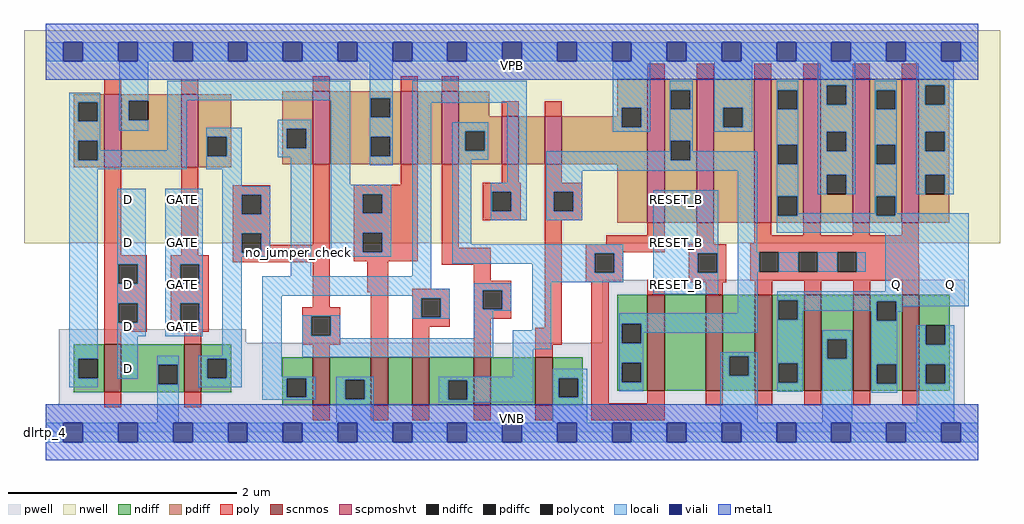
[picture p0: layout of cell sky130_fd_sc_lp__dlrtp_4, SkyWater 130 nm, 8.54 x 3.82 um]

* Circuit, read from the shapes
.subckt sky130_fd_sc_lp__dlrtp_4 D GATE RESET_B VGND VNB VPB VPWR Q
XM1 VGND D n1 VNB sky130_fd_pr__nfet_01v8 w=0.42 l=0.15
XM2 n2 GATE VGND VNB sky130_fd_pr__nfet_01v8 w=0.42 l=0.15
XM3 VGND n2 n3 VNB sky130_fd_pr__nfet_01v8 w=0.42 l=0.15
XM4 n4 n1 VGND VNB sky130_fd_pr__nfet_01v8 w=0.42 l=0.15
XM5 n5 n3 n4 VNB sky130_fd_pr__nfet_01v8 w=0.42 l=0.15
XM6 n6 n2 n5 VNB sky130_fd_pr__nfet_01v8 w=0.42 l=0.15
XM7 VGND n7 n6 VNB sky130_fd_pr__nfet_01v8 w=0.42 l=0.15
XM8 n8 n5 n7 VNB sky130_fd_pr__nfet_01v8 w=0.84 l=0.15
XM9 VGND RESET_B n8 VNB sky130_fd_pr__nfet_01v8 w=0.84 l=0.15
XM10 Q n7 VGND VNB sky130_fd_pr__nfet_01v8 w=0.84 l=0.15 m=4
XM11 VPWR D n1 VPB sky130_fd_pr__pfet_01v8_hvt w=0.64 l=0.15
XM12 n2 GATE VPWR VPB sky130_fd_pr__pfet_01v8_hvt w=0.64 l=0.15
XM13 VPWR n2 n3 VPB sky130_fd_pr__pfet_01v8_hvt w=0.64 l=0.15
XM14 n9 n1 VPWR VPB sky130_fd_pr__pfet_01v8_hvt w=0.64 l=0.15
XM15 n5 n2 n9 VPB sky130_fd_pr__pfet_01v8_hvt w=0.64 l=0.15
XM16 n10 n3 n5 VPB sky130_fd_pr__pfet_01v8_hvt w=0.42 l=0.15
XM17 VPWR n7 n10 VPB sky130_fd_pr__pfet_01v8_hvt w=0.42 l=0.15
XM18 n7 n5 VPWR VPB sky130_fd_pr__pfet_01v8_hvt w=1.26 l=0.15
XM19 VPWR RESET_B n7 VPB sky130_fd_pr__pfet_01v8_hvt w=1.26 l=0.15
XM20 Q n7 VPWR VPB sky130_fd_pr__pfet_01v8_hvt w=1.26 l=0.15 m=4
.ends

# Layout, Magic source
magic
tech sky130A
magscale 1 2
<< nwell >>
rect -38 331 1670 704
<< pwell >>
rect 23 157 351 180
rect 974 157 1608 267
rect 23 49 1608 157
rect 0 0 1632 49
<< scnmos >>
rect 102 70 132 154
rect 242 70 272 154
rect 467 47 497 131
rect 569 47 599 131
rect 641 47 671 131
rect 749 47 779 131
rect 857 47 887 131
rect 1053 73 1083 241
rect 1155 73 1185 241
rect 1241 73 1271 241
rect 1327 73 1357 241
rect 1413 73 1443 241
rect 1499 73 1529 241
<< scpmoshvt >>
rect 102 464 132 592
rect 237 464 267 592
rect 467 469 497 597
rect 621 469 651 597
rect 693 469 723 597
rect 798 469 828 553
rect 873 469 903 553
rect 1053 367 1083 619
rect 1139 367 1169 619
rect 1240 367 1270 619
rect 1326 367 1356 619
rect 1412 367 1442 619
rect 1498 367 1528 619
<< ndiff >>
rect 49 129 102 154
rect 49 95 57 129
rect 91 95 102 129
rect 49 70 102 95
rect 132 118 242 154
rect 132 84 197 118
rect 231 84 242 118
rect 132 70 242 84
rect 272 129 325 154
rect 272 95 283 129
rect 317 95 325 129
rect 272 70 325 95
rect 414 95 467 131
rect 414 61 422 95
rect 456 61 467 95
rect 414 47 467 61
rect 497 92 569 131
rect 497 58 524 92
rect 558 58 569 92
rect 497 47 569 58
rect 599 47 641 131
rect 671 91 749 131
rect 671 57 704 91
rect 738 57 749 91
rect 671 47 749 57
rect 779 47 857 131
rect 887 95 940 131
rect 887 61 898 95
rect 932 61 940 95
rect 887 47 940 61
rect 1000 190 1053 241
rect 1000 156 1008 190
rect 1042 156 1053 190
rect 1000 122 1053 156
rect 1000 88 1008 122
rect 1042 88 1053 122
rect 1000 73 1053 88
rect 1083 73 1155 241
rect 1185 133 1241 241
rect 1185 99 1196 133
rect 1230 99 1241 133
rect 1185 73 1241 99
rect 1271 231 1327 241
rect 1271 197 1282 231
rect 1316 197 1327 231
rect 1271 121 1327 197
rect 1271 87 1282 121
rect 1316 87 1327 121
rect 1271 73 1327 87
rect 1357 163 1413 241
rect 1357 129 1368 163
rect 1402 129 1413 163
rect 1357 73 1413 129
rect 1443 229 1499 241
rect 1443 195 1454 229
rect 1488 195 1499 229
rect 1443 119 1499 195
rect 1443 85 1454 119
rect 1488 85 1499 119
rect 1443 73 1499 85
rect 1529 187 1582 241
rect 1529 153 1540 187
rect 1574 153 1582 187
rect 1529 119 1582 153
rect 1529 85 1540 119
rect 1574 85 1582 119
rect 1529 73 1582 85
<< pdiff >>
rect 49 578 102 592
rect 49 544 57 578
rect 91 544 102 578
rect 49 510 102 544
rect 49 476 57 510
rect 91 476 102 510
rect 49 464 102 476
rect 132 580 237 592
rect 132 546 145 580
rect 179 546 237 580
rect 132 464 237 546
rect 267 517 325 592
rect 267 483 283 517
rect 317 483 325 517
rect 267 464 325 483
rect 414 531 467 597
rect 414 497 422 531
rect 456 497 467 531
rect 414 469 467 497
rect 497 585 621 597
rect 497 551 569 585
rect 603 551 621 585
rect 497 517 621 551
rect 497 483 569 517
rect 603 483 621 517
rect 497 469 621 483
rect 651 469 693 597
rect 723 553 776 597
rect 1000 568 1053 619
rect 1000 553 1008 568
rect 723 527 798 553
rect 723 493 734 527
rect 768 493 798 527
rect 723 469 798 493
rect 828 469 873 553
rect 903 534 1008 553
rect 1042 534 1053 568
rect 903 469 1053 534
rect 1000 367 1053 469
rect 1083 599 1139 619
rect 1083 565 1094 599
rect 1128 565 1139 599
rect 1083 510 1139 565
rect 1083 476 1094 510
rect 1128 476 1139 510
rect 1083 367 1139 476
rect 1169 568 1240 619
rect 1169 534 1186 568
rect 1220 534 1240 568
rect 1169 367 1240 534
rect 1270 599 1326 619
rect 1270 565 1281 599
rect 1315 565 1326 599
rect 1270 503 1326 565
rect 1270 469 1281 503
rect 1315 469 1326 503
rect 1270 413 1326 469
rect 1270 379 1281 413
rect 1315 379 1326 413
rect 1270 367 1326 379
rect 1356 607 1412 619
rect 1356 573 1367 607
rect 1401 573 1412 607
rect 1356 526 1412 573
rect 1356 492 1367 526
rect 1401 492 1412 526
rect 1356 451 1412 492
rect 1356 417 1367 451
rect 1401 417 1412 451
rect 1356 367 1412 417
rect 1442 599 1498 619
rect 1442 565 1453 599
rect 1487 565 1498 599
rect 1442 503 1498 565
rect 1442 469 1453 503
rect 1487 469 1498 503
rect 1442 413 1498 469
rect 1442 379 1453 413
rect 1487 379 1498 413
rect 1442 367 1498 379
rect 1528 607 1581 619
rect 1528 573 1539 607
rect 1573 573 1581 607
rect 1528 526 1581 573
rect 1528 492 1539 526
rect 1573 492 1581 526
rect 1528 451 1581 492
rect 1528 417 1539 451
rect 1573 417 1581 451
rect 1528 367 1581 417
<< ndiffc >>
rect 57 95 91 129
rect 197 84 231 118
rect 283 95 317 129
rect 422 61 456 95
rect 524 58 558 92
rect 704 57 738 91
rect 898 61 932 95
rect 1008 156 1042 190
rect 1008 88 1042 122
rect 1196 99 1230 133
rect 1282 197 1316 231
rect 1282 87 1316 121
rect 1368 129 1402 163
rect 1454 195 1488 229
rect 1454 85 1488 119
rect 1540 153 1574 187
rect 1540 85 1574 119
<< pdiffc >>
rect 57 544 91 578
rect 57 476 91 510
rect 145 546 179 580
rect 283 483 317 517
rect 422 497 456 531
rect 569 551 603 585
rect 569 483 603 517
rect 734 493 768 527
rect 1008 534 1042 568
rect 1094 565 1128 599
rect 1094 476 1128 510
rect 1186 534 1220 568
rect 1281 565 1315 599
rect 1281 469 1315 503
rect 1281 379 1315 413
rect 1367 573 1401 607
rect 1367 492 1401 526
rect 1367 417 1401 451
rect 1453 565 1487 599
rect 1453 469 1487 503
rect 1453 379 1487 413
rect 1539 573 1573 607
rect 1539 492 1573 526
rect 1539 417 1573 451
<< poly >>
rect 102 592 132 618
rect 237 592 267 618
rect 467 597 497 623
rect 621 597 651 623
rect 693 597 723 623
rect 1053 619 1083 645
rect 1139 619 1169 645
rect 1240 619 1270 645
rect 1326 619 1356 645
rect 1412 619 1442 645
rect 1498 619 1528 645
rect 798 553 828 579
rect 873 553 903 579
rect 102 310 132 464
rect 237 310 267 464
rect 327 416 393 432
rect 327 382 343 416
rect 377 382 393 416
rect 327 348 393 382
rect 327 314 343 348
rect 377 328 393 348
rect 467 328 497 469
rect 621 433 651 469
rect 377 314 497 328
rect 102 294 177 310
rect 102 260 127 294
rect 161 260 177 294
rect 102 226 177 260
rect 102 192 127 226
rect 161 192 177 226
rect 102 176 177 192
rect 219 294 285 310
rect 327 298 497 314
rect 539 417 651 433
rect 539 383 555 417
rect 589 383 651 417
rect 539 349 651 383
rect 539 315 555 349
rect 589 315 651 349
rect 539 299 651 315
rect 693 323 723 469
rect 798 437 828 469
rect 873 437 903 469
rect 765 421 831 437
rect 765 387 781 421
rect 815 387 831 421
rect 765 371 831 387
rect 873 421 939 437
rect 873 387 889 421
rect 923 387 939 421
rect 873 371 939 387
rect 219 260 235 294
rect 269 260 285 294
rect 219 226 285 260
rect 219 192 235 226
rect 269 192 285 226
rect 467 219 497 298
rect 563 245 599 299
rect 693 293 779 323
rect 749 265 779 293
rect 219 176 285 192
rect 449 203 515 219
rect 102 154 132 176
rect 242 154 272 176
rect 449 169 465 203
rect 499 169 515 203
rect 449 153 515 169
rect 467 131 497 153
rect 569 131 599 245
rect 641 235 707 251
rect 641 201 657 235
rect 691 201 707 235
rect 641 185 707 201
rect 749 249 815 265
rect 749 215 765 249
rect 799 215 815 249
rect 749 199 815 215
rect 641 131 671 185
rect 749 131 779 199
rect 873 183 903 371
rect 1053 345 1083 367
rect 981 329 1083 345
rect 1139 329 1169 367
rect 1240 345 1270 367
rect 1326 345 1356 367
rect 1412 345 1442 367
rect 1498 345 1528 367
rect 1240 331 1528 345
rect 945 315 1083 329
rect 945 313 1011 315
rect 945 279 961 313
rect 995 279 1011 313
rect 945 263 1011 279
rect 1125 313 1191 329
rect 1125 279 1141 313
rect 1175 279 1191 313
rect 857 153 903 183
rect 857 131 887 153
rect 102 44 132 70
rect 242 44 272 70
rect 955 51 985 263
rect 1053 241 1083 267
rect 1125 263 1191 279
rect 1233 315 1528 331
rect 1233 281 1249 315
rect 1283 281 1317 315
rect 1351 281 1385 315
rect 1419 295 1528 315
rect 1419 281 1529 295
rect 1233 265 1529 281
rect 1155 241 1185 263
rect 1241 241 1271 265
rect 1327 241 1357 265
rect 1413 241 1443 265
rect 1499 241 1529 265
rect 1053 51 1083 73
rect 467 21 497 47
rect 569 21 599 47
rect 641 21 671 47
rect 749 21 779 47
rect 857 21 887 47
rect 955 21 1083 51
rect 1155 47 1185 73
rect 1241 47 1271 73
rect 1327 47 1357 73
rect 1413 47 1443 73
rect 1499 47 1529 73
<< polycont >>
rect 343 382 377 416
rect 343 314 377 348
rect 127 260 161 294
rect 127 192 161 226
rect 555 383 589 417
rect 555 315 589 349
rect 781 387 815 421
rect 889 387 923 421
rect 235 260 269 294
rect 235 192 269 226
rect 465 169 499 203
rect 657 201 691 235
rect 765 215 799 249
rect 961 279 995 313
rect 1141 279 1175 313
rect 1249 281 1283 315
rect 1317 281 1351 315
rect 1385 281 1419 315
<< locali >>
rect 0 649 31 683
rect 65 649 127 683
rect 161 649 223 683
rect 257 649 319 683
rect 353 649 415 683
rect 449 649 511 683
rect 545 649 607 683
rect 641 649 703 683
rect 737 649 799 683
rect 833 649 895 683
rect 929 649 991 683
rect 1025 649 1087 683
rect 1121 649 1183 683
rect 1217 649 1279 683
rect 1313 649 1375 683
rect 1409 649 1471 683
rect 1505 649 1567 683
rect 1601 649 1632 683
rect 41 578 95 594
rect 41 544 57 578
rect 91 544 95 578
rect 41 510 95 544
rect 129 580 179 649
rect 129 546 145 580
rect 129 528 179 546
rect 213 581 533 615
rect 41 476 57 510
rect 91 494 95 510
rect 213 494 247 581
rect 91 476 247 494
rect 41 460 247 476
rect 281 517 343 533
rect 281 483 283 517
rect 317 483 343 517
rect 281 460 343 483
rect 406 531 465 547
rect 406 497 422 531
rect 456 497 465 531
rect 406 481 465 497
rect 41 129 91 460
rect 309 431 343 460
rect 41 95 57 129
rect 41 79 91 95
rect 125 294 175 426
rect 125 260 127 294
rect 161 260 175 294
rect 125 226 175 260
rect 125 192 127 226
rect 161 192 175 226
rect 125 168 175 192
rect 209 294 275 426
rect 209 260 235 294
rect 269 260 275 294
rect 209 226 275 260
rect 209 192 235 226
rect 269 192 275 226
rect 209 168 275 192
rect 309 416 393 431
rect 309 382 343 416
rect 377 382 393 416
rect 309 348 393 382
rect 309 314 343 348
rect 377 314 393 348
rect 309 307 393 314
rect 125 94 161 168
rect 309 134 343 307
rect 429 273 465 481
rect 499 433 533 581
rect 567 585 607 649
rect 567 551 569 585
rect 603 551 607 585
rect 567 517 607 551
rect 567 483 569 517
rect 603 483 607 517
rect 567 467 607 483
rect 641 577 842 615
rect 499 417 605 433
rect 499 383 555 417
rect 589 383 605 417
rect 499 349 605 383
rect 499 315 555 349
rect 589 315 605 349
rect 499 307 605 315
rect 641 273 675 577
rect 711 527 774 543
rect 711 493 734 527
rect 768 493 774 527
rect 711 477 774 493
rect 711 329 745 477
rect 808 437 842 577
rect 992 568 1058 649
rect 992 534 1008 568
rect 1042 534 1058 568
rect 992 526 1058 534
rect 1092 599 1132 615
rect 1092 565 1094 599
rect 1128 565 1132 599
rect 1092 510 1132 565
rect 1170 568 1236 649
rect 1170 534 1186 568
rect 1220 534 1236 568
rect 1170 526 1236 534
rect 1279 599 1317 615
rect 1279 565 1281 599
rect 1315 565 1317 599
rect 1092 492 1094 510
rect 779 421 842 437
rect 779 387 781 421
rect 815 387 842 421
rect 779 371 842 387
rect 876 476 1094 492
rect 1128 492 1132 510
rect 1279 503 1317 565
rect 1128 476 1245 492
rect 876 458 1245 476
rect 876 421 939 458
rect 876 387 889 421
rect 923 387 939 421
rect 876 371 939 387
rect 711 313 1011 329
rect 711 295 961 313
rect 195 118 233 134
rect 195 84 197 118
rect 231 84 233 118
rect 195 17 233 84
rect 267 129 343 134
rect 267 95 283 129
rect 317 95 343 129
rect 267 79 343 95
rect 379 251 675 273
rect 851 279 961 295
rect 995 279 1011 313
rect 851 263 1011 279
rect 1063 313 1177 424
rect 1063 279 1141 313
rect 1175 279 1177 313
rect 379 239 707 251
rect 379 97 413 239
rect 641 235 707 239
rect 449 203 515 205
rect 449 169 465 203
rect 499 169 515 203
rect 641 201 657 235
rect 691 201 707 235
rect 641 199 707 201
rect 749 249 815 261
rect 749 215 765 249
rect 799 215 815 249
rect 749 213 815 215
rect 449 165 515 169
rect 749 165 783 213
rect 851 179 885 263
rect 1063 242 1177 279
rect 1211 315 1245 458
rect 1279 469 1281 503
rect 1315 469 1317 503
rect 1279 413 1317 469
rect 1351 607 1417 649
rect 1351 573 1367 607
rect 1401 573 1417 607
rect 1351 526 1417 573
rect 1351 492 1367 526
rect 1401 492 1417 526
rect 1351 451 1417 492
rect 1351 417 1367 451
rect 1401 417 1417 451
rect 1451 599 1489 615
rect 1451 565 1453 599
rect 1487 565 1489 599
rect 1451 503 1489 565
rect 1451 469 1453 503
rect 1487 469 1489 503
rect 1279 379 1281 413
rect 1315 383 1317 413
rect 1451 413 1489 469
rect 1523 607 1589 649
rect 1523 573 1539 607
rect 1573 573 1589 607
rect 1523 526 1589 573
rect 1523 492 1539 526
rect 1573 492 1589 526
rect 1523 451 1589 492
rect 1523 417 1539 451
rect 1573 417 1589 451
rect 1451 383 1453 413
rect 1315 379 1453 383
rect 1487 383 1489 413
rect 1487 379 1615 383
rect 1279 349 1615 379
rect 1211 281 1249 315
rect 1283 281 1317 315
rect 1351 281 1385 315
rect 1419 281 1435 315
rect 1211 208 1246 281
rect 1469 247 1615 349
rect 449 131 783 165
rect 817 145 885 179
rect 1004 190 1246 208
rect 1004 156 1008 190
rect 1042 174 1246 190
rect 1280 231 1615 247
rect 1280 197 1282 231
rect 1316 229 1615 231
rect 1316 213 1454 229
rect 1316 197 1325 213
rect 1042 156 1046 174
rect 817 97 853 145
rect 1004 122 1046 156
rect 379 95 472 97
rect 379 61 422 95
rect 456 61 472 95
rect 379 57 472 61
rect 508 92 574 97
rect 508 58 524 92
rect 558 58 574 92
rect 508 17 574 58
rect 688 91 853 97
rect 688 57 704 91
rect 738 57 853 91
rect 688 53 853 57
rect 887 95 948 111
rect 887 61 898 95
rect 932 61 948 95
rect 1004 88 1008 122
rect 1042 88 1046 122
rect 1004 72 1046 88
rect 1180 133 1246 140
rect 1180 99 1196 133
rect 1230 99 1246 133
rect 887 17 948 61
rect 1180 17 1246 99
rect 1280 121 1325 197
rect 1445 195 1454 213
rect 1488 221 1615 229
rect 1488 211 1499 221
rect 1488 195 1490 211
rect 1280 87 1282 121
rect 1316 87 1325 121
rect 1280 71 1325 87
rect 1359 163 1411 179
rect 1359 129 1368 163
rect 1402 129 1411 163
rect 1359 17 1411 129
rect 1445 119 1490 195
rect 1445 85 1454 119
rect 1488 85 1490 119
rect 1445 69 1490 85
rect 1524 153 1540 187
rect 1574 153 1590 187
rect 1524 119 1590 153
rect 1524 85 1540 119
rect 1574 85 1590 119
rect 1524 17 1590 85
rect 0 -17 31 17
rect 65 -17 127 17
rect 161 -17 223 17
rect 257 -17 319 17
rect 353 -17 415 17
rect 449 -17 511 17
rect 545 -17 607 17
rect 641 -17 703 17
rect 737 -17 799 17
rect 833 -17 895 17
rect 929 -17 991 17
rect 1025 -17 1087 17
rect 1121 -17 1183 17
rect 1217 -17 1279 17
rect 1313 -17 1375 17
rect 1409 -17 1471 17
rect 1505 -17 1567 17
rect 1601 -17 1632 17
<< viali >>
rect 31 649 65 683
rect 127 649 161 683
rect 223 649 257 683
rect 319 649 353 683
rect 415 649 449 683
rect 511 649 545 683
rect 607 649 641 683
rect 703 649 737 683
rect 799 649 833 683
rect 895 649 929 683
rect 991 649 1025 683
rect 1087 649 1121 683
rect 1183 649 1217 683
rect 1279 649 1313 683
rect 1375 649 1409 683
rect 1471 649 1505 683
rect 1567 649 1601 683
rect 31 -17 65 17
rect 127 -17 161 17
rect 223 -17 257 17
rect 319 -17 353 17
rect 415 -17 449 17
rect 511 -17 545 17
rect 607 -17 641 17
rect 703 -17 737 17
rect 799 -17 833 17
rect 895 -17 929 17
rect 991 -17 1025 17
rect 1087 -17 1121 17
rect 1183 -17 1217 17
rect 1279 -17 1313 17
rect 1375 -17 1409 17
rect 1471 -17 1505 17
rect 1567 -17 1601 17
<< metal1 >>
rect 0 683 1632 715
rect 0 649 31 683
rect 65 649 127 683
rect 161 649 223 683
rect 257 649 319 683
rect 353 649 415 683
rect 449 649 511 683
rect 545 649 607 683
rect 641 649 703 683
rect 737 649 799 683
rect 833 649 895 683
rect 929 649 991 683
rect 1025 649 1087 683
rect 1121 649 1183 683
rect 1217 649 1279 683
rect 1313 649 1375 683
rect 1409 649 1471 683
rect 1505 649 1567 683
rect 1601 649 1632 683
rect 0 617 1632 649
rect 0 17 1632 49
rect 0 -17 31 17
rect 65 -17 127 17
rect 161 -17 223 17
rect 257 -17 319 17
rect 353 -17 415 17
rect 449 -17 511 17
rect 545 -17 607 17
rect 641 -17 703 17
rect 737 -17 799 17
rect 833 -17 895 17
rect 929 -17 991 17
rect 1025 -17 1087 17
rect 1121 -17 1183 17
rect 1217 -17 1279 17
rect 1313 -17 1375 17
rect 1409 -17 1471 17
rect 1505 -17 1567 17
rect 1601 -17 1632 17
rect 0 -49 1632 -17
<< labels >>
flabel pwell s 0 0 1632 49 0 FreeSans 200 0 0 0 VNB
port 5 nsew ground bidirectional
flabel nwell s 0 617 1632 666 0 FreeSans 200 0 0 0 VPB
port 6 nsew power bidirectional
rlabel comment s 0 0 0 0 4 dlrtp_4
flabel comment s 442 315 442 315 0 FreeSans 200 0 0 0 no_jumper_check
flabel metal1 s 0 617 1632 666 0 FreeSans 340 0 0 0 VPWR
port 7 nsew power bidirectional
flabel metal1 s 0 0 1632 49 0 FreeSans 340 0 0 0 VGND
port 4 nsew ground bidirectional
flabel locali s 127 94 161 128 0 FreeSans 340 0 0 0 D
port 1 nsew signal input
flabel locali s 127 168 161 202 0 FreeSans 340 0 0 0 D
port 1 nsew signal input
flabel locali s 127 242 161 276 0 FreeSans 340 0 0 0 D
port 1 nsew signal input
flabel locali s 127 316 161 350 0 FreeSans 340 0 0 0 D
port 1 nsew signal input
flabel locali s 127 390 161 424 0 FreeSans 340 0 0 0 D
port 1 nsew signal input
flabel locali s 1087 242 1121 276 0 FreeSans 340 0 0 0 RESET_B
port 3 nsew signal input
flabel locali s 1087 316 1121 350 0 FreeSans 340 0 0 0 RESET_B
port 3 nsew signal input
flabel locali s 1087 390 1121 424 0 FreeSans 340 0 0 0 RESET_B
port 3 nsew signal input
flabel locali s 223 168 257 202 0 FreeSans 340 0 0 0 GATE
port 2 nsew clock input
flabel locali s 223 242 257 276 0 FreeSans 340 0 0 0 GATE
port 2 nsew clock input
flabel locali s 223 316 257 350 0 FreeSans 340 0 0 0 GATE
port 2 nsew clock input
flabel locali s 223 390 257 424 0 FreeSans 340 0 0 0 GATE
port 2 nsew clock input
flabel locali s 1471 242 1505 276 0 FreeSans 340 0 0 0 Q
port 8 nsew signal output
flabel locali s 1567 242 1601 276 0 FreeSans 340 0 0 0 Q
port 8 nsew signal output
<< properties >>
string LEFsite unit
string LEFclass CORE
string FIXED_BBOX 0 0 1632 666
string GDS_FILE $PDKPATH/libs.ref/sky130_fd_sc_lp/gds/sky130_fd_sc_lp.gds
string LEFsymmetry X Y R90
string GDS_END 1922682
string GDS_START 1909410
<< end >>
